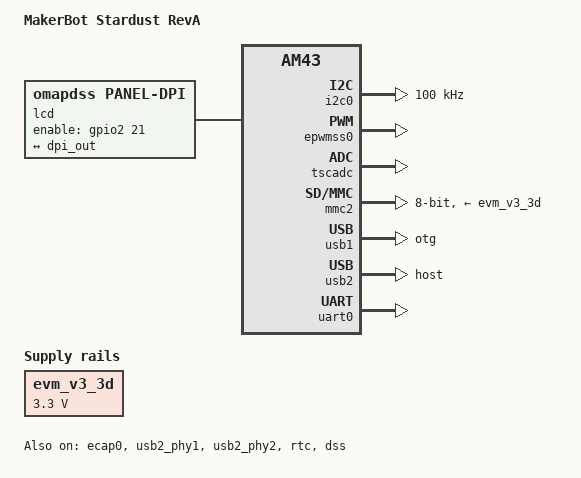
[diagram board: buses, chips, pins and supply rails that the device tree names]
/*
 * Copyright (C) 2013 Texas Instruments Incorporated - http://www.ti.com/
 *
 * This program is free software; you can redistribute it and/or modify
 * it under the terms of the GNU General Public License version 2 as
 * published by the Free Software Foundation.
 */

/* AM437x GP EVM */

/dts-v1/;

#include "am4372.dtsi"
#include <dt-bindings/pinctrl/am43xx.h>
#include <dt-bindings/pwm/pwm.h>
#include <dt-bindings/gpio/gpio.h>

/ {
	model = "MakerBot Stardust RevA";
	compatible = "makerbot,stardust-reva","ti,am4372","ti,am43";

	aliases {};

	evm_v3_3d: fixedregulator-v3_3d {
		compatible = "regulator-fixed";
		regulator-name = "evm_v3_3d";
		regulator-min-microvolt = <3300000>;
		regulator-max-microvolt = <3300000>;
		enable-active-high;
	};
};

&am43xx_pinmux {
	pinctrl-names = "default", "sleep";
	pinctrl-0 = <&debugss_pins &unused_pins>;
	pinctrl-1 = <>;

	i2c0_pins: i2c0_pins {
		pinctrl-single,pins = <
			0x188 (PIN_INPUT_PULLUP | SLEWCTRL_FAST | MUX_MODE0)	/* i2c0_sda.i2c0_sda */
			0x18c (PIN_INPUT_PULLUP | SLEWCTRL_FAST | MUX_MODE0)	/* i2c0_scl.i2c0_scl */
		>;
	};

	emmc_pins_default: emmc_pins_default {
		pinctrl-single,pins = <
			0x020 (PIN_INPUT_PULLUP | MUX_MODE2)	/* gpmc_ad8.mmc1_dat0 */
			0x024 (PIN_INPUT_PULLUP | MUX_MODE2)	/* gpmc_ad9.mmc1_dat1 */
			0x028 (PIN_INPUT_PULLUP | MUX_MODE2)	/* gpmc_ad10.mmc1_dat2 */
			0x02C (PIN_INPUT_PULLUP | MUX_MODE2)	/* gpmc_ad11.mmc1_dat3 */
			0x030 (PIN_INPUT_PULLUP | MUX_MODE2)	/* gpmc_ad12.mmc1_dat4 */
			0x034 (PIN_INPUT_PULLUP | MUX_MODE2)	/* gpmc_ad13.mmc1_dat5 */
			0x038 (PIN_INPUT_PULLUP | MUX_MODE2)	/* gpmc_ad14.mmc1_dat6 */
			0x03C (PIN_INPUT_PULLUP | MUX_MODE2)	/* gpmc_ad15.mmc1_dat7 */
			0x080 (PIN_INPUT_PULLUP | MUX_MODE2)	/* gpmc_csn1.mmc1_clk */
			0x084 (PIN_INPUT_PULLUP | MUX_MODE2)	/* gpmc_csn2.mmc1_cmd */
		>;
	};

	emmc_pins_sleep: emmc_pins_sleep {
		pinctrl-single,pins = <
			0x020 (PIN_INPUT_PULLDOWN | MUX_MODE7)	/* gpmc_ad8 */
			0x024 (PIN_INPUT_PULLDOWN | MUX_MODE7)	/* gpmc_ad9 */
			0x028 (PIN_INPUT_PULLDOWN | MUX_MODE7)	/* gpmc_ad10 */
			0x02C (PIN_INPUT_PULLDOWN | MUX_MODE7)	/* gpmc_ad11 */
			0x030 (PIN_INPUT_PULLDOWN | MUX_MODE7)	/* gpmc_ad12 */
			0x034 (PIN_INPUT_PULLDOWN | MUX_MODE7)	/* gpmc_ad13 */
			0x038 (PIN_INPUT_PULLDOWN | MUX_MODE7)	/* gpmc_ad14 */
			0x03C (PIN_INPUT_PULLDOWN | MUX_MODE7)	/* gpmc_ad15 */
			0x080 (PIN_INPUT_PULLDOWN | MUX_MODE7)	/* gpmc_csn1.gpio1_30 */
			0x084 (PIN_INPUT_PULLDOWN | MUX_MODE7)	/* gpmc_csn2.gpio1_31 */
		>;
	};

	uart0_pins_default: uart0_pins_default {
		pinctrl-single,pins = <
			0x168 (DS0_PULL_UP_DOWN_EN | INPUT_EN | MUX_MODE0)	/* uart0_ctsn.uart0_ctsn */
			0x16C (DS0_PULL_UP_DOWN_EN | INPUT_EN | MUX_MODE0)	/* uart0_rtsn.uart0_rtsn */
			0x170 (PIN_INPUT_PULLUP | SLEWCTRL_FAST | DS0_PULL_UP_DOWN_EN | MUX_MODE0) /* uart0_rxd.uart0_rxd */
			0x174 (PIN_INPUT | PULL_DISABLE | SLEWCTRL_FAST | DS0_PULL_UP_DOWN_EN | MUX_MODE0) /* uart0_txd.uart0_txd */
		>;
	};

	uart0_pins_sleep: uart0_pins_sleep {
		pinctrl-single,pins = <
			0x168 (DS0_PULL_UP_DOWN_EN | INPUT_EN | MUX_MODE7)	/* uart0_ctsn */
			0x16C (DS0_PULL_UP_DOWN_EN | INPUT_EN | MUX_MODE7)	/* uart0_ctsn */
			0x170 (PIN_INPUT_PULLUP | SLEWCTRL_FAST | DS0_PULL_UP_DOWN_EN | MUX_MODE0) /* uart0_rxd.uart0_rxd */
			0x174 (PIN_INPUT_PULLDOWN | SLEWCTRL_FAST | DS0_PULL_UP_DOWN_EN | MUX_MODE0) /* uart0_txd.uart0_txd */
		>;
	};

	debugss_pins: pinmux_debugss_pins {
		pinctrl-single,pins = <
			0x290 (PIN_INPUT_PULLDOWN)
			0x294 (PIN_INPUT_PULLDOWN)
			0x298 (PIN_INPUT_PULLDOWN)
			0x29C (PIN_INPUT_PULLDOWN)
			0x2A0 (PIN_INPUT_PULLDOWN)
			0x2A4 (PIN_INPUT_PULLDOWN)
			0x2A8 (PIN_INPUT_PULLDOWN)
		>;
	};

	pruss_pins: pruss_pins {
		pinctrl-single,pins = <
			0x19C (PIN_OUTPUT | MUX_MODE5)	/* mcasp0_ahclkr (pru gpo3)*/
			0x1A0 (PIN_OUTPUT | MUX_MODE5)	/* mcasp0_aclkr (pru gpo4)*/
			0x1A4 (PIN_INPUT_PULLDOWN | MUX_MODE6)	/* mcasp0_fsr (pru gpi5) INPUT*/
			0x1A8 (PIN_OUTPUT | MUX_MODE5)	/* mcasp0_axr1 (pru gpo6)*/
			0x0F0 (PIN_OUTPUT | MUX_MODE5)	/* mmc0_dat3 (pru gpo8)*/
			0x0F4 (PIN_INPUT_PULLDOWN  | MUX_MODE6)	/* mmc0_dat2 (pru gpi9) INPUT*/
			0x0F8 (PIN_OUTPUT | MUX_MODE5)	/* mmc0_dat1 (pru gpo10)*/
			0x0FC (PIN_OUTPUT | MUX_MODE5)	/* mmc0_dat0 (pru gpo11)*/
			0x100 (PIN_INPUT_PULLDOWN  | MUX_MODE6)	/* mmc0_clk (pru gpi12) INPUT*/
			0x104 (PIN_OUTPUT | MUX_MODE5)	/* mmc0_cmd (pru gpo13)*/
			0x1C0 (PIN_OUTPUT | MUX_MODE3)	/* cam0_pclk (pru gpo14)*/
			0x1C4 (PIN_OUTPUT | MUX_MODE3)	/* cam0_data8 (pru gpo15)*/
			0x1C8 (PIN_OUTPUT | MUX_MODE3)	/* cam0_data9 (pru gpo16)*/
			0x1CC (PIN_OUTPUT | MUX_MODE3)	/* cam1_data9 (pru gpo17)*/
			0x228 (PIN_OUTPUT | MUX_MODE4)	/* uart3_rxd (pru gpo18)*/
			0x22C (PIN_OUTPUT | MUX_MODE4)	/* uart3_txd (pru gpo19)*/
			// pr0_pru1 pins begin here
			0x1D0 (PIN_OUTPUT | MUX_MODE4)	/* cam1_data8 (pru1 gpo0)*/
			0x1D4 (PIN_OUTPUT | MUX_MODE3)	/* cam1_hd (pru1 gpo1)*/
			0x1D8 (PIN_OUTPUT | MUX_MODE3)	/* cam1_vd (pru1 gpo2)*/
			0x1DC (PIN_OUTPUT | MUX_MODE3)	/* cam1_pclk (pru1 gpo3)*/
			0x1F0 (PIN_OUTPUT | MUX_MODE4)	/* cam1_data2 (pru1 gpo10)*/
			0x1F4 (PIN_OUTPUT | MUX_MODE4)	/* cam1_data3 (pru1 gpo11)*/
			0x1F8 (PIN_OUTPUT | MUX_MODE4)	/* cam1_data4 (pru1 gpo12)*/
			0x1FC (PIN_OUTPUT | MUX_MODE4)	/* cam1_data5 (pru1 gpo13)*/
			0x200 (PIN_OUTPUT | MUX_MODE4)	/* cam1_data6 (pru1 gpo14)*/
			0x204 (PIN_OUTPUT | MUX_MODE4)	/* cam1_data7 (pru1 gpo15)*/
			0x208 (PIN_OUTPUT | MUX_MODE4)	/* cam0_data0 (pru1 gpo16)*/
			0x20C (PIN_OUTPUT | MUX_MODE4)	/* cam0_data1 (pru1 gpo17)*/
			0x230 (PIN_OUTPUT | MUX_MODE4)	/* uart3_ctsn (pru1 gpo18)*/
			0x234 (PIN_OUTPUT | MUX_MODE4)	/* uart3_rtsn (pru1 gpo19)*/
        >;
    };

	dss_pins_default: dss_pins_default {
		pinctrl-single,pins = <
			0x140 (PIN_OUTPUT_PULLDOWN | MUX_MODE7)	/* mii1_rxd0.gpio2_21 (reset) */
			0x264 (PIN_OUTPUT_PULLDOWN | MUX_MODE7)	/* spi2_d0.gpio3_22 (bklight) */
			0x0A0 (PIN_OUTPUT_PULLUP | MUX_MODE0)	/* lcd_data0.lcd_data0 */
			0x0A4 (PIN_OUTPUT_PULLUP | MUX_MODE0)	/* lcd_data1.lcd_data1 */
			0x0A8 (PIN_OUTPUT_PULLUP | MUX_MODE0)	/* lcd_data2.lcd_data2 */
			0x0AC (PIN_OUTPUT_PULLUP | MUX_MODE0)	/* lcd_data3.lcd_data3 */
			0x0B0 (PIN_OUTPUT_PULLUP | MUX_MODE0)	/* lcd_data4.lcd_data4 */
			0x0B4 (PIN_OUTPUT_PULLUP | MUX_MODE0)	/* lcd_data5.lcd_data5 */
			0x0B8 (PIN_OUTPUT_PULLUP | MUX_MODE0)	/* lcd_data6.lcd_data6 */
			0x0BC (PIN_OUTPUT_PULLUP | MUX_MODE0)	/* lcd_data7.lcd_data7 */
			0x0C0 (PIN_OUTPUT_PULLUP | MUX_MODE0)	/* lcd_data8.lcd_data8 */
			0x0C4 (PIN_OUTPUT_PULLUP | MUX_MODE0)	/* lcd_data9.lcd_data9 */
			0x0C8 (PIN_OUTPUT_PULLUP | MUX_MODE0)	/* lcd_data10.lcd_data10 */
			0x0CC (PIN_OUTPUT_PULLUP | MUX_MODE0)	/* lcd_data11.lcd_data11 */
			0x0D0 (PIN_OUTPUT_PULLUP | MUX_MODE0)	/* lcd_data12.lcd_data12 */
			0x0D4 (PIN_OUTPUT_PULLUP | MUX_MODE0)	/* lcd_data13.lcd_data13 */
			0x0D8 (PIN_OUTPUT_PULLUP | MUX_MODE0)	/* lcd_data14.lcd_data14 */
			0x0DC (PIN_OUTPUT_PULLUP | MUX_MODE0)	/* lcd_data15.lcd_data15 */
			0x0E0 (PIN_OUTPUT_PULLUP | MUX_MODE0)	/* lcd_vsync.lcd_vsync */
			0x0E4 (PIN_OUTPUT_PULLUP | MUX_MODE0)	/* lcd_hsync.lcd_hsync */
			0x0E8 (PIN_OUTPUT_PULLUP | MUX_MODE0)	/* lcd_pclk.lcd_pclk */
			0x0EC (PIN_OUTPUT_PULLUP | MUX_MODE0)	/* lcd_ac_bias_en.lcd_ac_bias_en */
		>;
	};

	dss_pins_sleep: dss_pins_sleep {
		pinctrl-single,pins = <
			0x140 (PIN_INPUT_PULLDOWN | MUX_MODE7)	/* mii1_rxd0 */
			0x264 (PIN_INPUT_PULLDOWN | MUX_MODE7)	/* spi2_d0 */
			0x0A0 (PIN_INPUT_PULLDOWN | MUX_MODE7)	/* lcd_data0 */
			0x0A4 (PIN_INPUT_PULLDOWN | MUX_MODE7)	/* lcd_data1 */
			0x0A8 (PIN_INPUT_PULLDOWN | MUX_MODE7)	/* lcd_data2 */
			0x0AC (PIN_INPUT_PULLDOWN | MUX_MODE7)	/* lcd_data3 */
			0x0B0 (PIN_INPUT_PULLDOWN | MUX_MODE7)	/* lcd_data4 */
			0x0B4 (PIN_INPUT_PULLDOWN | MUX_MODE7)	/* lcd_data5 */
			0x0B8 (PIN_INPUT_PULLDOWN | MUX_MODE7)	/* lcd_data6 */
			0x0BC (PIN_INPUT_PULLDOWN | MUX_MODE7)	/* lcd_data7 */
			0x0C0 (PIN_INPUT_PULLDOWN | MUX_MODE7)	/* lcd_data8 */
			0x0C4 (PIN_INPUT_PULLDOWN | MUX_MODE7)	/* lcd_data9 */
			0x0C8 (PIN_INPUT_PULLDOWN | MUX_MODE7)	/* lcd_data10 */
			0x0CC (PIN_INPUT_PULLDOWN | MUX_MODE7)	/* lcd_data11 */
			0x0D0 (PIN_INPUT_PULLDOWN | MUX_MODE7)	/* lcd_data12 */
			0x0D4 (PIN_INPUT_PULLDOWN | MUX_MODE7)	/* lcd_data13 */
			0x0D8 (PIN_INPUT_PULLDOWN | MUX_MODE7)	/* lcd_data14 */
			0x0DC (PIN_INPUT_PULLDOWN | MUX_MODE7)	/* lcd_data15 */
			0x0E0 (PIN_INPUT_PULLDOWN | MUX_MODE7)	/* lcd_vsync */
			0x0E4 (PIN_INPUT_PULLDOWN | MUX_MODE7)	/* lcd_hsync */
			0x0E8 (PIN_INPUT_PULLDOWN | MUX_MODE7)	/* lcd_pclk */
			0x0EC (PIN_INPUT_PULLDOWN | MUX_MODE7)	/* lcd_ac_bias_en */
		>;
	};

	unused_pins: unused_pins {
		pinctrl-single,pins = <
			0x000 (PIN_INPUT_PULLDOWN | MUX_MODE7)	/* gpmc_ad0 */
			0x004 (PIN_INPUT_PULLDOWN | MUX_MODE7)	/* gpmc_ad1 */
			0x008 (PIN_INPUT_PULLDOWN | MUX_MODE7)	/* gpmc_ad2 */
			0x00C (PIN_INPUT_PULLDOWN | MUX_MODE7)	/* gpmc_ad3 */
			0x010 (PIN_INPUT_PULLDOWN | MUX_MODE7)	/* gpmc_ad4 */
			0x014 (PIN_INPUT_PULLDOWN | MUX_MODE7)	/* gpmc_ad5 */
			0x018 (PIN_INPUT_PULLDOWN | MUX_MODE7)	/* gpmc_ad6 */
			0x01C (PIN_INPUT_PULLDOWN | MUX_MODE7)	/* gpmc_ad7 */
			0x040 (PIN_INPUT_PULLDOWN | MUX_MODE7)	/* gpmc_a0 */
			0x044 (PIN_INPUT_PULLDOWN | MUX_MODE7)	/* gpmc_a1 */
			0x048 (PIN_INPUT_PULLDOWN | MUX_MODE7)	/* gpmc_a2 */
			0x04C (PIN_INPUT_PULLDOWN | MUX_MODE7)	/* gpmc_a3 */
			0x050 (PIN_INPUT_PULLDOWN | MUX_MODE7)	/* gpmc_a4 */
			0x054 (PIN_INPUT_PULLDOWN | MUX_MODE7)	/* gpmc_a5 */
			0x058 (PIN_INPUT_PULLDOWN | MUX_MODE7)	/* gpmc_a6 */
			0x05C (PIN_INPUT_PULLDOWN | MUX_MODE7) 	/* gpmc_a7 */
			0x060 (PIN_INPUT_PULLDOWN | MUX_MODE7)	/* gpmc_a8 */
			0x064 (PIN_INPUT_PULLDOWN | MUX_MODE7)	/* gpmc_a9 */
			0x068 (PIN_INPUT_PULLDOWN | MUX_MODE7)	/* gpmc_a10 */
			0x06C (PIN_INPUT_PULLDOWN | MUX_MODE7)	/* gpmc_a11 */
			0x070 (PIN_INPUT_PULLDOWN | MUX_MODE7)	/* gpmc_wait0 */
			0x074 (PIN_INPUT_PULLDOWN | MUX_MODE7)	/* gpmc_wpn */
			0x078 (PIN_INPUT_PULLDOWN | MUX_MODE7)	/* gpmc_be1n */
			0x07C (PIN_INPUT_PULLDOWN | MUX_MODE7)	/* gpmc_csn0  */
			0x088 (PIN_INPUT_PULLDOWN | MUX_MODE7)	/* gpmc_csn3 */
			0x08C (PIN_INPUT_PULLDOWN | MUX_MODE7)	/* gpmc_clk */
			0x090 (PIN_INPUT_PULLDOWN | MUX_MODE7)	/* gpmc_advn_ale */
			0x094 (PIN_INPUT_PULLDOWN | MUX_MODE7)	/* gpmc_oen_ren */
			0x098 (PIN_INPUT_PULLDOWN | MUX_MODE7)	/* gpmc_wen */
			0x09C (PIN_INPUT_PULLDOWN | MUX_MODE7)	/* gpmc_be0n_cle */
			0x108 (PIN_INPUT_PULLDOWN | MUX_MODE7)	/* mii1_col */
			0x10C (PIN_INPUT_PULLDOWN | MUX_MODE7)	/* mii1_crs */
			0x110 (PIN_INPUT_PULLDOWN | MUX_MODE7)	/* mii1_rxerr */
			0x114 (PIN_INPUT_PULLDOWN | MUX_MODE7)	/* mii1_txen */
			0x118 (PIN_INPUT_PULLDOWN | MUX_MODE7)	/* mii1_rxdv */
			0x11C (PIN_INPUT_PULLDOWN | MUX_MODE7)	/* mii1_txd3 */
			0x120 (PIN_INPUT_PULLDOWN | MUX_MODE7)	/* mii1_txd2 */
			0x124 (PIN_INPUT_PULLDOWN | MUX_MODE7)	/* mii1_txd1 */
			0x128 (PIN_INPUT_PULLDOWN | MUX_MODE7)	/* mii1_txd0 */
			0x12C (PIN_INPUT_PULLDOWN | MUX_MODE7)	/* mii1_txclk */
			0x130 (PIN_INPUT_PULLDOWN | MUX_MODE7)	/* mii1_rxclk */
			0x134 (PIN_INPUT_PULLDOWN | MUX_MODE7)	/* mii1_rxd3 */
			0x138 (PIN_INPUT_PULLDOWN | MUX_MODE7)	/* mii1_rxd2 */
			0x13C (PIN_INPUT_PULLDOWN | MUX_MODE7)	/* mii1_rxd1 */
			0x144 (PIN_INPUT_PULLDOWN | MUX_MODE7)	/* rmii1_refclk */
			0x148 (PIN_INPUT_PULLDOWN | MUX_MODE7)	/* mdio_data */
			0x14C (PIN_INPUT_PULLDOWN | MUX_MODE7)	/* mdio_clk */
			0x150 (PIN_INPUT_PULLDOWN | MUX_MODE7)	/* spi0_sclk */
			0x154 (PIN_INPUT_PULLDOWN | MUX_MODE7)	/* spi0_d0 */
			0x158 (PIN_INPUT_PULLDOWN | MUX_MODE7)	/* spi0_d1 */
			0x15C (PIN_INPUT_PULLDOWN | MUX_MODE7)	/* spi0_cs0 */
			0x160 (PIN_INPUT_PULLDOWN | MUX_MODE7)	/* spi0_cs1 */
			0x164 (PIN_INPUT_PULLDOWN | MUX_MODE7)	/* ecap0_in_pwm0_out */
			0x178 (PIN_INPUT_PULLDOWN | MUX_MODE7)	/* uart1_ctsn */
			0x17C (PIN_INPUT_PULLDOWN | MUX_MODE7)	/* uart1_rtsn */
			0x180 (PIN_INPUT_PULLDOWN | MUX_MODE7)	/* uart1_rxd */
			0x184 (PIN_INPUT_PULLDOWN | MUX_MODE7)	/* uart1_txd */
			0x190 (PIN_INPUT_PULLDOWN | MUX_MODE7)	/* mcasp0_aclkx */
			0x194 (PIN_INPUT_PULLDOWN | MUX_MODE7)	/* mcasp0_fsx */
			0x198 (PIN_INPUT_PULLDOWN | MUX_MODE7)	/* mcasp0_axr0 */
			0x1AC (PIN_INPUT_PULLDOWN | MUX_MODE7)	/* mcasp0_ahcplkx */
			0x1B0 (PIN_INPUT_PULLDOWN | MUX_MODE7)	/* cam0_hd */
			0x1B4 (PIN_INPUT_PULLDOWN | MUX_MODE7)	/* cam0_vd */
			0x1E8 (PIN_INPUT_PULLDOWN | MUX_MODE7)	/* cam1_data0 */
			0x1EC (PIN_INPUT_PULLDOWN | MUX_MODE7)	/* cam1_data1 */
			0x210 (PIN_INPUT_PULLDOWN | MUX_MODE7)	/* cam0_data2 */
			0x214 (PIN_INPUT_PULLDOWN | MUX_MODE7)	/* cam0_data3 */
			0x218 (PIN_INPUT_PULLDOWN | MUX_MODE7)	/* cam0_data4 */
			0x21C (PIN_INPUT_PULLDOWN | MUX_MODE7)	/* cam0_data5 */
			0x220 (PIN_INPUT_PULLDOWN | MUX_MODE7)	/* cam0_data6 */
			0x224 (PIN_INPUT_PULLDOWN | MUX_MODE7)	/* cam0_data7 */
			0x238 (PIN_INPUT_PULLDOWN | MUX_MODE7)	/* gpio5_8 */
			0x23C (PIN_INPUT_PULLDOWN | MUX_MODE7)	/* gpio5_9 */
			0x240 (PIN_INPUT_PULLDOWN | MUX_MODE7)	/* gpio5_10 */
			0x244 (PIN_INPUT_PULLDOWN | MUX_MODE7)	/* gpio5_11 */
			0x248 (PIN_INPUT_PULLDOWN | MUX_MODE7)	/* gpio5_12 */
			0x24C (PIN_INPUT_PULLDOWN | MUX_MODE7)	/* gpio5_13 */
			0x250 (PIN_INPUT_PULLDOWN | MUX_MODE7)	/* spi4_sclk */
			0x254 (PIN_INPUT_PULLDOWN | MUX_MODE7)	/* spi4_d0 */
			0x258 (PIN_INPUT_PULLDOWN | MUX_MODE7)	/* spi4_d1 */
			0x25C (PIN_INPUT_PULLDOWN | MUX_MODE7)	/* spi4_cs0 */
			0x260 (PIN_INPUT_PULLDOWN | MUX_MODE7)	/* spi2_sclk */
			0x268 (PIN_INPUT_PULLDOWN | MUX_MODE7)	/* spi2_d1 */
			0x26C (PIN_INPUT_PULLDOWN | MUX_MODE7)	/* spi2_cs0 */
			0x270 (PIN_INPUT_PULLDOWN | MUX_MODE7)	/* xdma_evt_intr0 */
			0x278 (PIN_INPUT_PULLDOWN | MUX_MODE7)	/* xdma_evt_intr1 */
			0x27C (PIN_INPUT | PULL_DISABLE)	/* nresetin_out */
		>;
	};

	usb1_pins_default: usb1_pins_default {
		pinctrl-single,pins = <
			0x2c0 (DS0_PULL_UP_DOWN_EN | PIN_INPUT_PULLDOWN | MUX_MODE0)
		>;
	};

	usb1_pins_sleep: usb1_pins_sleep {
		pinctrl-single,pins = <
			0x2c0 (DS0_PULL_UP_DOWN_EN | PIN_INPUT_PULLDOWN | MUX_MODE7)
		>;
	};

	usb2_pins_default: usb2_pins_default {
		pinctrl-single,pins = <
			0x2c4 (DS0_PULL_UP_DOWN_EN | PIN_INPUT_PULLDOWN | MUX_MODE0)
		>;
	};

	usb2_pins_sleep: usb2_pins_sleep {
		pinctrl-single,pins = <
			0x2c4 (DS0_PULL_UP_DOWN_EN | PIN_INPUT_PULLDOWN | MUX_MODE7)
		>;
	};
};

&i2c0 {
	status = "okay";
	pinctrl-names = "default";
	pinctrl-0 = <&i2c0_pins>;
	clock-frequency = <100000>;
};

&epwmss0 {
	status = "okay";
};

&tscadc {
	status = "okay";

	adc {
		ti,adc-channels = <0 1 2 3 4 5 6 7>;
	};
};

&ecap0 {
	status = "okay";
};

&gpio0 {
	status = "okay";
};

&gpio1 {
	status = "okay";
};

&gpio2 {
	status = "okay";
};

&gpio3 {
	status = "okay";
};

&gpio4 {
	status = "okay";
};

&gpio5 {
	status = "okay";
};

/* eMMC sits on mmc2 */
&mmc2 {
	status = "okay";
	vmmc-supply = <&evm_v3_3d>;
	bus-width = <8>;
	pinctrl-names = "default", "sleep";
	pinctrl-0 = <&emmc_pins_default>;
	pinctrl-1 = <&emmc_pins_sleep>;
};

&usb2_phy1 {
	status = "okay";
};

&usb1 {
	dr_mode = "otg";
	status = "okay";
	pinctrl-names = "default", "sleep";
	pinctrl-0 = <&usb1_pins_default>;
	pinctrl-1 = <&usb1_pins_sleep>;
};

&usb2_phy2 {
	status = "okay";
};

&usb2 {
	dr_mode = "host";
	status = "okay";
	pinctrl-names = "default", "sleep";
	pinctrl-0 = <&usb2_pins_default>;
	pinctrl-1 = <&usb2_pins_sleep>;
};

&uart0 {
	status = "okay";
	pinctrl-names = "default", "sleep";
	pinctrl-0 = <&uart0_pins_default>;
	pinctrl-1 = <&uart0_pins_sleep>;
};

&wkup_m3_ipc {
	ti,set-io-isolation;
	ti,scale-data-fw = "am43x-evm-scale-data.bin";
};

&rtc {
	status = "okay";
	ext-clk-src;
};

&pruss0 {
    pinctrl-names = "default";
    pinctrl-0 = <&pruss_pins>;
};

&dss {
	status = "okay";
	pinctrl-names = "default", "sleep";
	pinctrl-0 = <&dss_pins_default>;
	pinctrl-1 = <&dss_pins_sleep>;

	port {
		dpi_out: endpoint@0 {
			remote-endpoint = <&lcd_in>;
			data-lines = <16>;
		};
	};
};

/* TODO: This clearly belongs in dss and not in the root node.
 *       But the dss is poorly written so this cannot go there.
 */
/ {
	lcd0: display@0 {
		compatible = "omapdss,panel-dpi", "panel-dpi";
		label = "lcd";
		status = "okay";
		enable-gpios = <&gpio2 21 GPIO_ACTIVE_HIGH>;

		port {
			lcd_in: endpoint {
				remote-endpoint = <&dpi_out>;
			};
		};

		/* Mostly from the panel-dpi example */
		panel-timing {
			clock-frequency = <10000000>;
			hactive = <480>;
			vactive = <272>;
			hfront-porch = <20>;
			hback-porch = <4>;
			hsync-len = <8>;
			vback-porch = <2>;
			vfront-porch = <2>;
			vsync-len = <2>;

			hsync-active = <0>;
			vsync-active = <0>;
			de-active = <1>;
			pixelclk-active = <0>;
		};
	};
};
